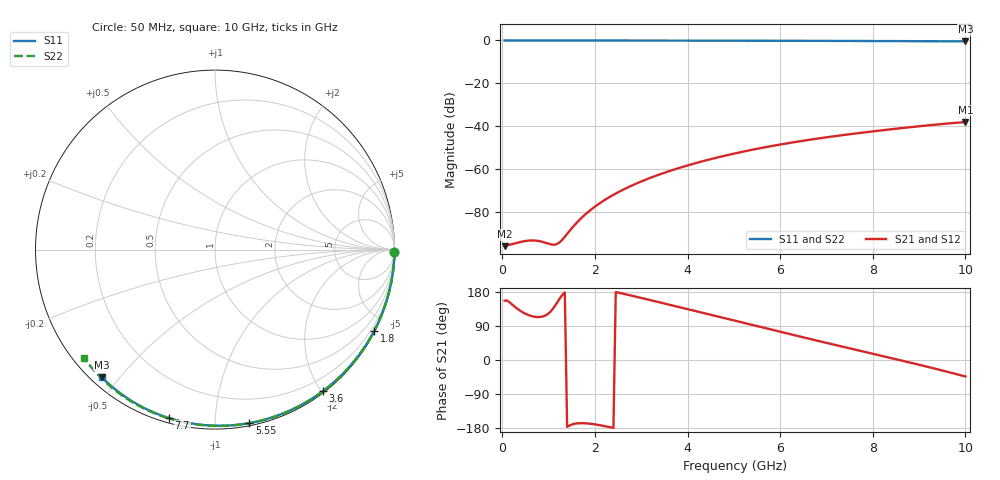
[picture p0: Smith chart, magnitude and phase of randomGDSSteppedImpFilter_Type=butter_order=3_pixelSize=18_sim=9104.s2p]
! freq	dB(S11)	phase(S11)	dB(S12)	phase(S12)
!  dB(S21)	phase(S21)	dB(S22)	phase(S22)
!S-par simulation data
#  GHz  S  DB  R 50
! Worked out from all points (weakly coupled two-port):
!   200 points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, 50 MHz to 10 GHz, reference 50 ohm
!   highest |S21| = -38.01 dB at 10 GHz (marker M1); lowest = -95.9 dB at 50 MHz (marker M2)
!   lowest |S11| = -0.4 dB at 10 GHz (marker M3), VSWR 39.38, Z = 1.53 - j22.4 ohm
!   |S11| at or under -10 dB: nowhere
!   |S22| runs from -0.5 to 0.0 dB; largest |S21 - S12| = 0
!   S11 on the Smith chart (normalised r, x): 50 MHz: open; 1.8 GHz: 0.04, -4.17; 3.6 GHz: 0.02, -2.02; 5.55 GHz: 0.02, -1.22; 7.7 GHz: 0.02, -0.76; 10 GHz: 0.03, -0.45
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0.05  -0.00 -0.8  -95.86 156.5  -95.86 156.5  -0.00 -0.8
0.45  -0.01 -6.8  -93.64 125.3  -93.64 125.3  -0.01 -7.3
0.9  -0.02 -13.6  -94.05 115.8  -94.05 115.8  -0.02 -14.6
1.75  -0.03 -26.3  -81.88 -166.7  -81.88 -166.7  -0.04 -28.1
1.8  -0.03 -27.0  -80.90 -167.0  -80.90 -167.0  -0.04 -28.8
1.85  -0.04 -27.7  -79.98 -167.6  -79.98 -167.6  -0.04 -29.6
2  -0.04 -29.9  -77.44 -169.9  -77.44 -169.9  -0.04 -32.0
2.15  -0.04 -32.1  -75.18 -173.1  -75.18 -173.1  -0.04 -34.3
2.35  -0.04 -35.0  -72.53 -178.0  -72.53 -178.0  -0.05 -37.4
2.55  -0.05 -37.9  -70.18 176.6  -70.18 176.6  -0.05 -40.5
2.95  -0.06 -43.6  -66.16 165.2  -66.16 165.2  -0.06 -46.6
3.4  -0.07 -50.0  -62.40 152.1  -62.40 152.1  -0.07 -53.3
3.6  -0.07 -52.8  -60.92 146.1  -60.92 146.1  -0.08 -56.3
4.3  -0.09 -62.4  -56.43 125.3  -56.43 125.3  -0.09 -66.5
5.05  -0.11 -72.3  -52.50 102.9  -52.50 102.9  -0.12 -77.1
5.55  -0.13 -78.8  -50.28 87.9  -50.28 87.9  -0.14 -84.0
6.1  -0.15 -85.8  -48.13 71.5  -48.13 71.5  -0.16 -91.4
6.7  -0.18 -93.2  -46.07 53.9  -46.07 53.9  -0.19 -99.2
7.7  -0.24 -105.2  -43.15 25.0  -43.15 25.0  -0.26 -112.0
8.35  -0.29 -112.8  -41.50 6.5  -41.50 6.5  -0.31 -120.2
9.2  -0.36 -122.6  -39.55 -18.5  -39.55 -18.5  -0.39 -130.7
10  -0.44 -131.6  -38.01 -43.5  -38.01 -43.5  -0.47 -140.4
